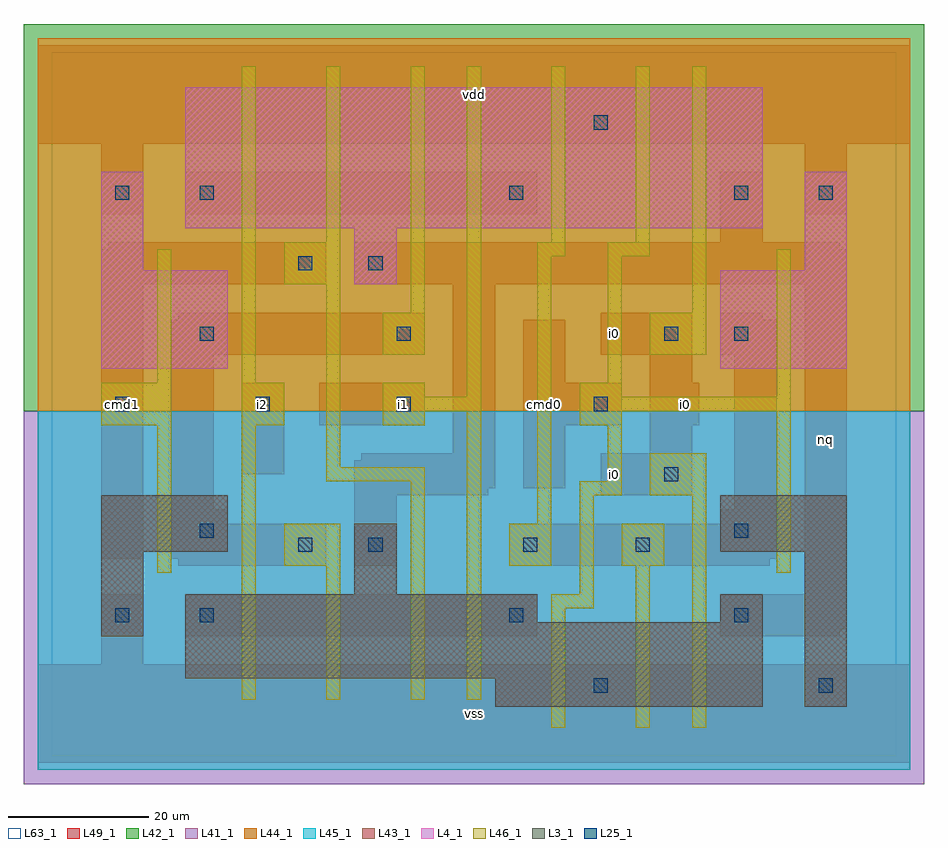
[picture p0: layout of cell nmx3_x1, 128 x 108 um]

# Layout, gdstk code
import gdstk
lib = gdstk.Library(unit=1e-6, precision=1e-09)
def R(c, l, rs):  # rectangles x0, y0, x1, y1
    for r in rs: c.add(gdstk.rectangle(r[:2], r[2:], *l))
def A(c, l, x, y, w, h, nx, ny, dx, dy):  # array of equal rectangles
    R(c, l, [(x+i*dx, y+j*dy, x+i*dx+w, y+j*dy+h) for i in range(nx) for j in range(ny)])
L3_1 = (3, 1)
L4_1 = (4, 1)
L25_1 = (25, 1)
L41_1 = (41, 1)
L42_1 = (42, 1)
L43_1 = (43, 1)
L44_1 = (44, 1)
L45_1 = (45, 1)
L46_1 = (46, 1)
L49_1 = (49, 1)
L63_1 = (63, 1)

nmx3_x1 = lib.new_cell('nmx3_x1')
R(nmx3_x1, L3_1, [(63,7,101,11), (107,7,113,29), (19,11,101,19), (7,17,13,29), (19,19,69,23), (95,19,101,23), (43,23,49,33), (7,29,25,37), (95,29,113,37)])
R(nmx3_x1, L4_1, [(7,55,25,69), (95,55,113,69), (43,67,49,75), (7,69,13,83), (107,69,113,83), (19,75,101,95)])
A(nmx3_x1, L25_1, 77, 9, 2, 2, 1, 3, 0, 40)
A(nmx3_x1, L25_1, 9, 49, 2, 2, 3, 1, 20, 0)
R(nmx3_x1, L25_1, [(109,9,111,11), (9,19,11,21), (21,19,23,21), (65,19,67,21), (97,19,99,21), (35,29,37,31), (45,29,47,31), (67,29,69,31), (83,29,85,31), (21,31,23,33), (97,31,99,33), (87,39,89,41), (21,59,23,61), (49,59,51,61), (87,59,89,61), (97,59,99,61), (35,69,37,71), (45,69,47,71), (9,79,11,81), (21,79,23,81), (65,79,67,81), (97,79,99,81), (109,79,111,81)])
R(nmx3_x1, L41_1, [(-4,-4,124,49)])
R(nmx3_x1, L42_1, [(-4,49,124,104)])
R(nmx3_x1, L43_1, [(63,7,101,11), (107,7,113,29), (19,11,101,19), (7,17,13,29), (19,19,69,23), (95,19,101,23), (43,23,49,33), (7,29,25,37), (95,29,113,37), (7,55,25,69), (95,55,113,69), (43,67,49,75), (7,69,13,83), (107,69,113,83), (19,75,101,95)])
R(nmx3_x1, L44_1, [(-2,49,122,102)])
R(nmx3_x1, L45_1, [(-2,-2,122,49)])
R(nmx3_x1, L46_1, [(71,4,73,21), (83,4,85,27), (91,4,93,37), (27,8,29,47), (39,8,41,27), (51,8,53,39), (59,8,61,49), (71,21,77,23), (75,23,77,37), (15,26,17,47), (103,26,105,49), (33,27,41,33), (65,27,71,33), (81,27,87,33), (69,33,71,71), (75,37,81,39), (85,37,93,43), (39,39,53,41), (79,39,81,47), (39,41,41,67), (7,47,17,53), (27,47,33,53), (47,47,53,49), (75,47,81,49), (47,49,61,51), (75,49,105,51), (47,51,53,53), (59,51,61,98), (75,51,81,53), (103,51,105,72), (15,53,17,72), (27,53,29,98), (79,53,81,71), (47,57,53,63), (85,57,93,63), (51,63,53,98), (91,63,93,98), (33,67,41,73), (69,71,73,73), (79,71,85,73), (39,73,41,98), (71,73,73,98), (83,73,85,98)])
R(nmx3_x1, L49_1, [(-2,-1,122,13), (7,13,13,23), (19,17,69,23), (95,17,112,18), (95,18,113,23), (107,23,113,67), (18,27,39,28), (43,27,49,37), (65,27,102,28), (7,28,13,67), (17,28,39,33), (65,28,103,33), (17,33,25,35), (95,33,103,35), (17,35,23,57), (97,35,103,57), (43,37,62,38), (78,37,91,43), (43,38,63,42), (67,38,73,47), (27,40,33,53), (44,42,63,43), (57,43,63,67), (85,43,91,47), (38,47,53,53), (67,47,81,53), (85,47,92,53), (67,53,73,62), (85,53,91,57), (17,57,53,62), (78,57,91,63), (95,57,103,62), (18,62,53,63), (95,62,101,63), (7,67,39,72), (43,67,113,72), (8,72,39,73), (43,72,112,73), (95,73,101,83), (7,77,13,87), (19,77,69,83), (107,77,113,87), (-2,87,122,101)])
R(nmx3_x1, L63_1, [(0,0,120,100)])
nmx3_x1.add(gdstk.Label('cmd1', (10,50), layer=49, texttype=1))
nmx3_x1.add(gdstk.Label('cmd1', (10,50), layer=49, texttype=1))
nmx3_x1.add(gdstk.Label('i2', (30,50), layer=49, texttype=1))
nmx3_x1.add(gdstk.Label('i2', (30,50), layer=49, texttype=1))
nmx3_x1.add(gdstk.Label('vss', (60,6), layer=49, texttype=1))
nmx3_x1.add(gdstk.Label('vss', (60,6), layer=49, texttype=1))
nmx3_x1.add(gdstk.Label('i1', (50,50), layer=49, texttype=1))
nmx3_x1.add(gdstk.Label('i1', (50,50), layer=49, texttype=1))
nmx3_x1.add(gdstk.Label('cmd0', (70,50), layer=49, texttype=1))
nmx3_x1.add(gdstk.Label('cmd0', (70,50), layer=49, texttype=1))
nmx3_x1.add(gdstk.Label('vdd', (60,94), layer=49, texttype=1))
nmx3_x1.add(gdstk.Label('vdd', (60,94), layer=49, texttype=1))
nmx3_x1.add(gdstk.Label('i0', (80,40), layer=49, texttype=1))
nmx3_x1.add(gdstk.Label('i0', (80,40), layer=49, texttype=1))
nmx3_x1.add(gdstk.Label('i0', (90,50), layer=49, texttype=1))
nmx3_x1.add(gdstk.Label('i0', (90,50), layer=49, texttype=1))
nmx3_x1.add(gdstk.Label('i0', (80,60), layer=49, texttype=1))
nmx3_x1.add(gdstk.Label('i0', (80,60), layer=49, texttype=1))
nmx3_x1.add(gdstk.Label('nq', (110,45), layer=49, texttype=1))
nmx3_x1.add(gdstk.Label('nq', (110,45), layer=49, texttype=1))

lib.write_gds('nmx3_x1.gds')
